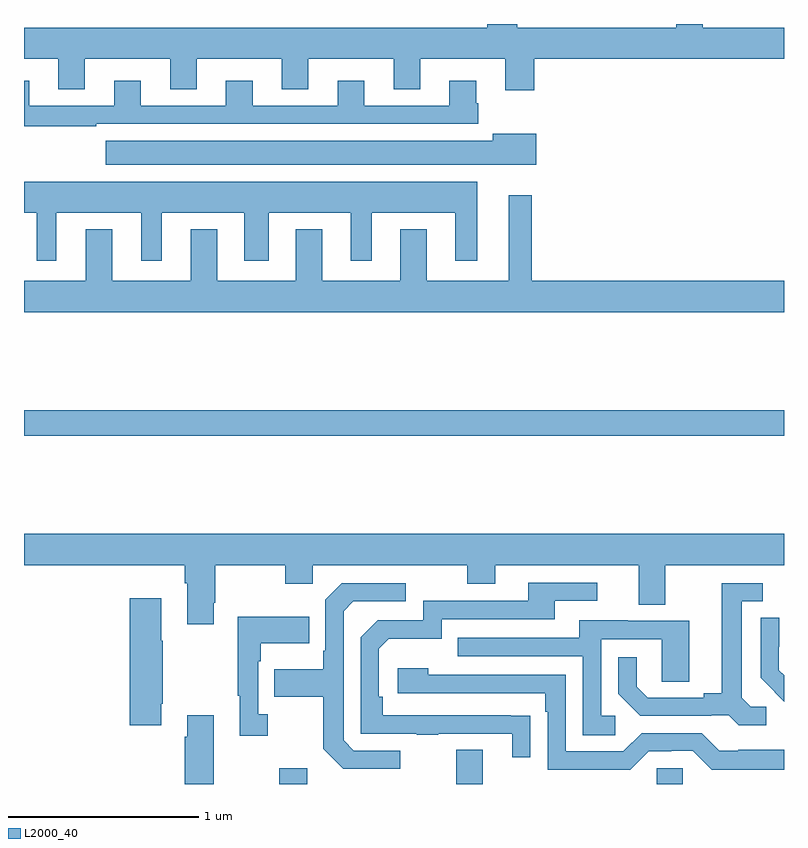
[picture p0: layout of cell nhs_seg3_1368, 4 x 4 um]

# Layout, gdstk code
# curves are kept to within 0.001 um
import gdstk
lib = gdstk.Library(unit=1e-6, precision=1e-09)
def R(c, l, rs):  # rectangles x0, y0, x1, y1
    for r in rs: c.add(gdstk.rectangle(r[:2], r[2:], *l))
def P(c, l, *ps):  # polygons
    for p in ps: c.add(gdstk.Polygon(p, *l))
L2000_40 = (2000, 40)

nhs_seg3_1368 = lib.new_cell('nhs_seg3_1368')
R(nhs_seg3_1368, L2000_40, [(182.344,730.4,182.491,730.483), (183.275,730.4,183.415,730.579), (184.329,730.4,184.467,730.482), (181,732.232,185,732.368)])
P(nhs_seg3_1368, L2000_40, [(183.686,734.216),(185,734.216),(185,734.38),(184.573,734.38),(184.573,734.4),(184.433,734.4),(184.433,734.38),(183.597,734.38),(183.597,734.4),(183.437,734.4),(183.437,734.38),(181,734.38),(181,734.216),(181.181,734.216),(181.181,734.056),(181.321,734.056),(181.321,734.216),(181.769,734.216),(181.769,734.056),(181.909,734.056),(181.909,734.216),(182.357,734.216),(182.357,734.056),(182.497,734.056),(182.497,734.216),(182.945,734.216),(182.945,734.056),(183.085,734.056),(183.085,734.216),(183.533,734.216),(183.533,734.052),(183.686,734.052)],
  [(181.379,733.875),(183.392,733.875),(183.392,733.983),(183.379,733.983),(183.379,734.101),(183.239,734.101),(183.239,733.971),(182.791,733.971),(182.791,734.101),(182.651,734.101),(182.651,733.971),(182.203,733.971),(182.203,734.101),(182.063,734.101),(182.063,733.971),(181.615,733.971),(181.615,734.101),(181.475,734.101),(181.475,733.971),(181.027,733.971),(181.027,734.101),(181,734.101),(181,733.863),(181.379,733.863)],
  [(183.697,733.822),(183.467,733.822),(183.467,733.786),(181.431,733.786),(181.431,733.658),(183.697,733.658)],
  [(181.171,733.406),(181.616,733.406),(181.616,733.155),(181.726,733.155),(181.726,733.406),(182.159,733.406),(182.159,733.155),(182.287,733.155),(182.287,733.406),(182.72,733.406),(182.72,733.155),(182.83,733.155),(182.83,733.406),(183.269,733.406),(183.269,733.155),(183.385,733.155),(183.385,733.57),(181,733.57),(181,733.406),(181.067,733.406),(181.067,733.155),(181.171,733.155)],
  [(185,733.048),(183.673,733.048),(183.673,733.498),(183.551,733.498),(183.551,733.048),(183.121,733.048),(183.121,733.321),(182.981,733.321),(182.981,733.048),(182.569,733.048),(182.569,733.321),(182.429,733.321),(182.429,733.048),(182.017,733.048),(182.017,733.321),(181.877,733.321),(181.877,733.048),(181.465,733.048),(181.465,733.321),(181.325,733.321),(181.325,733.048),(181,733.048),(181,732.884),(185,732.884)],
  [(181.999,731.353),(182.007,731.353),(182.007,731.552),(182.374,731.552),(182.374,731.453),(182.52,731.453),(182.52,731.552),(183.334,731.552),(183.334,731.453),(183.481,731.453),(183.481,731.552),(184.235,731.552),(184.235,731.344),(184.375,731.344),(184.375,731.552),(185,731.552),(185,731.716),(181,731.716),(181,731.552),(181.847,731.552),(181.847,731.456),(181.859,731.456),(181.859,731.241),(181.999,731.241)],
  [(183.665,730.76),(182.888,730.761),(182.888,730.858),(182.868,730.858),(182.868,731.112),(182.921,731.165),(183.198,731.165),(183.198,731.268),(183.793,731.268),(183.793,731.364),(184.018,731.364),(184.018,731.46),(183.653,731.46),(183.653,731.364),(183.102,731.364),(183.102,731.262),(182.862,731.262),(182.772,731.172),(182.772,730.665),(183.067,730.665),(183.067,730.66),(183.179,730.66),(183.179,730.665),(183.569,730.665),(183.569,730.542),(183.665,730.542)],
  [(184.906,730.806),(184.824,730.806),(184.777,730.853),(184.777,731.361),(184.888,731.361),(184.888,731.457),(184.673,731.457),(184.673,730.877),(184.577,730.877),(184.577,730.854),(184.282,730.854),(184.225,730.911),(184.225,731.068),(184.128,731.068),(184.128,730.874),(184.244,730.758),(184.616,730.758),(184.616,730.761),(184.71,730.761),(184.762,730.709),(184.906,730.709)],
  [(182.98,730.575),(182.736,730.575),(182.682,730.629),(182.682,731.31),(182.733,731.361),(183.01,731.361),(183.01,731.457),(182.673,731.457),(182.586,731.37),(182.586,731.101),(182.574,731.101),(182.574,731.005),(182.317,731.005),(182.317,730.858),(182.574,730.858),(182.574,730.585),(182.679,730.479),(182.98,730.479)],
  [(181.723,730.822),(181.731,730.822),(181.731,731.153),(181.723,731.153),(181.723,731.377),(181.556,731.377),(181.556,730.71),(181.723,730.71)],
  [(182.284,730.766),(182.232,730.766),(182.232,731.045),(182.245,731.045),(182.245,731.141),(182.501,731.141),(182.501,731.281),(182.124,731.281),(182.124,730.865),(182.135,730.865),(182.135,730.653),(182.284,730.653)],
  [(185,730.973),(184.973,731),(184.973,731.122),(184.974,731.122),(184.974,731.276),(184.878,731.276),(184.878,730.958),(184.951,730.885),(184.95,730.884),(185,730.834)],
  [(184.111,730.758),(184.038,730.758),(184.038,731.163),(184.356,731.163),(184.356,730.939),(184.501,730.939),(184.501,731.259),(184.177,731.259),(184.177,731.263),(183.923,731.263),(183.923,731.169),(183.283,731.169),(183.283,731.073),(183.942,731.073),(183.942,730.657),(184.111,730.657)],
  [(185,730.579),(184.759,730.579),(184.759,730.575),(184.659,730.575),(184.566,730.668),(184.251,730.668),(184.155,730.572),(183.852,730.572),(183.852,730.974),(183.128,730.974),(183.128,731.008),(182.967,731.008),(182.967,730.878),(183.743,730.878),(183.743,730.781),(183.756,730.781),(183.756,730.476),(184.191,730.476),(184.287,730.572),(184.406,730.572),(184.406,730.575),(184.521,730.575),(184.621,730.475),(185,730.475)],
  [(181.999,730.762),(181.859,730.762),(181.859,730.649),(181.847,730.649),(181.847,730.4),(181.999,730.4)])

lib.write_gds('nhs_seg3_1368.gds')
